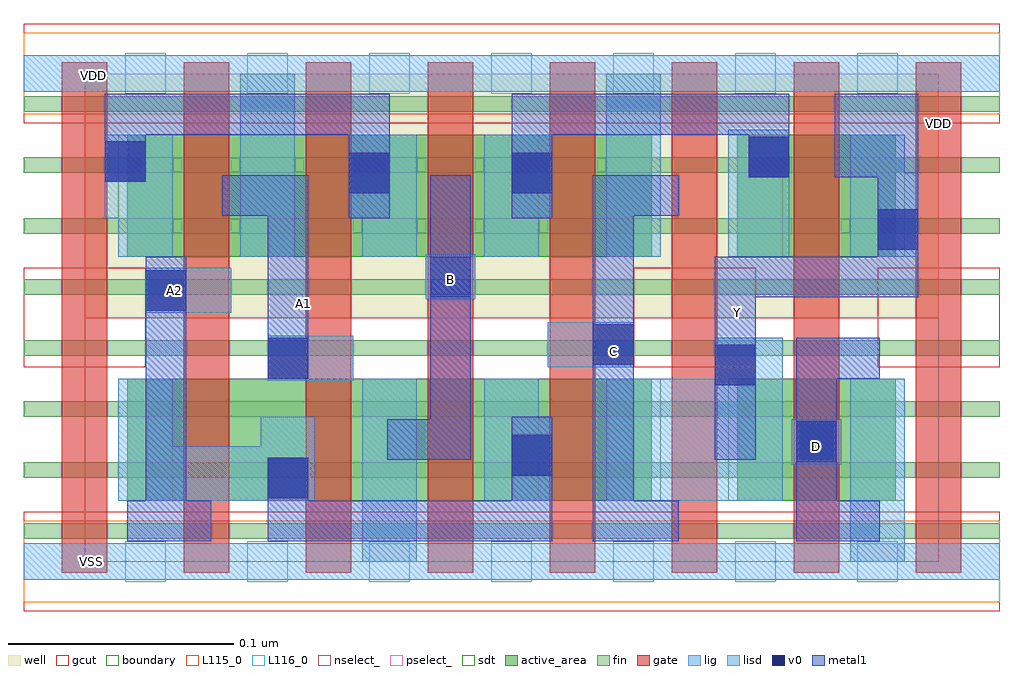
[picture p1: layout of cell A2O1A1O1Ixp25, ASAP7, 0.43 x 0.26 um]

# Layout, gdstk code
import gdstk
lib = gdstk.Library(unit=1e-6, precision=2.5e-10)
def R(c, l, rs):  # rectangles x0, y0, x1, y1
    for r in rs: c.add(gdstk.rectangle(r[:2], r[2:], *l))
def A(c, l, x, y, w, h, nx, ny, dx, dy):  # array of equal rectangles
    R(c, l, [(x+i*dx, y+j*dy, x+i*dx+w, y+j*dy+h) for i in range(nx) for j in range(ny)])
def P(c, l, *ps):  # polygons
    for p in ps: c.add(gdstk.Polygon(p, *l))
well = (1, 0)
fin = (2, 0)
gate = (7, 0)
gcut = (10, 0)
active_area = (11, 0)
nselect_ = (12, 0)
pselect_ = (13, 0)
lig = (16, 0)
lisd = (17, 0)
v0 = (18, 0)
metal1 = (19, 0)
sdt = (88, 0)
boundary = (100, 0)
L115_0 = (115, 0)
L116_0 = (116, 0)

a2o1a1o1ixp25 = lib.new_cell('A2O1A1O1Ixp25')
R(a2o1a1o1ixp25, well, [(0,0.108,0.378,0.216)])
A(a2o1a1o1ixp25, fin, -0.027, 0.01, 0.432, 0.007, 1, 8, 0, 0.027)
A(a2o1a1o1ixp25, gate, -0.01, -0.005, 0.02, 0.226, 8, 1, 0.054, 0)
R(a2o1a1o1ixp25, gate, [(0.368,-0.005,0.388,0.221)])
R(a2o1a1o1ixp25, gcut, [(-0.027,-0.022,0.405,0.022), (-0.027,0.086,0.027,0.13), (0.243,0.086,0.297,0.13), (0.351,0.086,0.405,0.13), (-0.027,0.194,0.405,0.238)])
R(a2o1a1o1ixp25, active_area, [(0.019,0.027,0.251,0.081), (0.289,0.027,0.359,0.081), (0.019,0.135,0.251,0.189), (0.289,0.135,0.359,0.189)])
R(a2o1a1o1ixp25, nselect_, [(0,0,0.378,0.108)])
R(a2o1a1o1ixp25, pselect_, [(0,0.108,0.378,0.216)])
R(a2o1a1o1ixp25, lig, [(-0.027,-0.008,0.405,0.008), (0.313,0.043,0.335,0.063), (0.081,0.08,0.119,0.1), (0.205,0.086,0.243,0.106), (0.027,0.11,0.065,0.13), (0.151,0.116,0.173,0.136), (-0.027,0.208,0.405,0.224)])
R(a2o1a1o1ixp25, lisd, [(0.123,0,0.147,0.081), (0.339,0,0.363,0.081), (0.078,0.027,0.102,0.064), (0.177,0.027,0.201,0.081), (0.183,0.027,0.207,0.064), (0.015,0.135,0.039,0.189), (0.069,0.135,0.093,0.216), (0.123,0.135,0.147,0.189), (0.177,0.135,0.201,0.189), (0.231,0.135,0.255,0.216), (0.285,0.135,0.312,0.191), (0.339,0.135,0.363,0.189), (0.345,0.135,0.369,0.172), (0.009,0.152,0.033,0.189), (0.117,0.152,0.141,0.189), (0.183,0.152,0.207,0.189)])
P(a2o1a1o1ixp25, lisd, [(0.309,0.099),(0.279,0.099),(0.279,0.081),(0.231,0.081),(0.231,0.027),(0.309,0.027)],
  [(0.102,0.051),(0.039,0.051),(0.039,0.081),(0.015,0.081),(0.015,0.027),(0.102,0.027)])
R(a2o1a1o1ixp25, v0, [(0.081,0.028,0.099,0.046), (0.189,0.038,0.207,0.056), (0.315,0.044,0.333,0.062), (0.279,0.078,0.297,0.096), (0.081,0.081,0.099,0.099), (0.225,0.087,0.243,0.105), (0.027,0.111,0.045,0.129), (0.153,0.117,0.171,0.135), (0.351,0.138,0.369,0.156), (0.117,0.163,0.135,0.181), (0.189,0.163,0.207,0.181), (0.009,0.168,0.027,0.186), (0.294,0.17,0.312,0.188)])
R(a2o1a1o1ixp25, metal1, [(0.019,0.009,0.056,0.027), (0.027,0.009,0.045,0.135), (0.081,0.009,0.207,0.027), (0.225,0.009,0.263,0.027), (0.315,0.009,0.352,0.027), (0.081,0.027,0.099,0.046), (0.189,0.027,0.207,0.064), (0.225,0.027,0.243,0.171), (0.315,0.027,0.333,0.099), (0.134,0.045,0.171,0.063), (0.279,0.045,0.297,0.135), (0.153,0.063,0.171,0.171), (0.081,0.081,0.099,0.153), (0.315,0.081,0.352,0.099), (0.279,0.117,0.369,0.135), (0.351,0.117,0.369,0.207), (0.117,0.152,0.135,0.189), (0.189,0.152,0.207,0.189), (0.061,0.153,0.099,0.171), (0.225,0.153,0.263,0.171), (0.009,0.168,0.027,0.189), (0.294,0.17,0.312,0.189), (0.332,0.17,0.369,0.207), (0.009,0.189,0.135,0.207), (0.189,0.189,0.312,0.207)])
A(a2o1a1o1ixp25, sdt, 0.123, 0.027, 0.024, 0.054, 5, 1, 0.054, 0)
A(a2o1a1o1ixp25, sdt, 0.015, 0.135, 0.024, 0.054, 7, 1, 0.054, 0)
R(a2o1a1o1ixp25, sdt, [(0.015,0.027,0.039,0.081)])
R(a2o1a1o1ixp25, boundary, [(0,0,0.378,0.216)])
R(a2o1a1o1ixp25, L115_0, [(-0.027,-0.018,0.405,0.018), (-0.027,0.198,0.405,0.234)])
A(a2o1a1o1ixp25, L116_0, 0.018, -0.009, 0.018, 0.018, 7, 2, 0.054, 0.216)
a2o1a1o1ixp25.add(gdstk.Label('Y', (0.289,0.11), layer=19, texttype=251))
a2o1a1o1ixp25.add(gdstk.Label('A2', (0.04,0.12), layer=19, texttype=251))
a2o1a1o1ixp25.add(gdstk.Label('A1', (0.097,0.114), layer=19, texttype=251))
a2o1a1o1ixp25.add(gdstk.Label('B', (0.162,0.125), layer=19, texttype=251))
a2o1a1o1ixp25.add(gdstk.Label('C', (0.234,0.093), layer=19, texttype=251))
a2o1a1o1ixp25.add(gdstk.Label('D', (0.324,0.051), layer=19, texttype=251))
a2o1a1o1ixp25.add(gdstk.Label('VDD', (0.378,0.194), layer=1, texttype=251))
a2o1a1o1ixp25.add(gdstk.Label('VSS', (0.446,0.194), layer=3, texttype=251))
a2o1a1o1ixp25.add(gdstk.Label('VDD', (0.004,0.215), layer=115, texttype=251))
a2o1a1o1ixp25.add(gdstk.Label('VSS', (0.003,0), layer=115, texttype=251))

lib.write_gds('A2O1A1O1Ixp25.gds')
